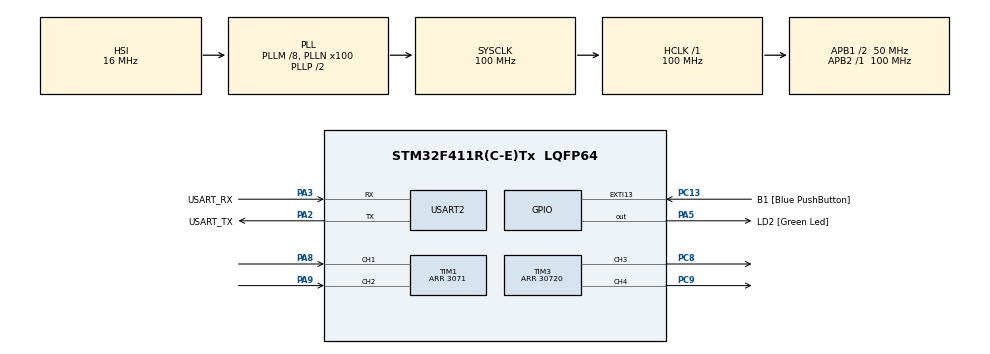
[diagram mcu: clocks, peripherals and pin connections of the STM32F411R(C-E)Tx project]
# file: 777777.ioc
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Mcu.Family=STM32F4
Mcu.Name=STM32F411R(C-E)Tx
Mcu.Package=LQFP64
NVIC.PriorityGroup=NVIC_PRIORITYGROUP_0
NVIC.TIM2_IRQn=true\:0\:0\:false\:false\:true\:true\:true
NVIC.TIM3_IRQn=true\:0\:0\:false\:false\:true\:true\:true
PA13.GPIO_Label=TMS
PA13.Mode=Serial_Wire
PA13.Signal=SYS_JTMS-SWDIO
PA14.GPIO_Label=TCK
PA14.Mode=Serial_Wire
PA14.Signal=SYS_JTCK-SWCLK
PA2.GPIO_Label=USART_TX
PA2.Mode=Asynchronous
PA2.Signal=USART2_TX
PA3.GPIO_Label=USART_RX
PA3.Mode=Asynchronous
PA3.Signal=USART2_RX
PA5.GPIO_Label=LD2 [Green Led]
PA5.Signal=GPIO_Output
PA8.Signal=S_TIM1_CH1
PA9.Signal=S_TIM1_CH2
PB10.Signal=S_TIM2_CH3
PB3.GPIO_Label=SWO
PB3.Signal=SYS_JTDO-SWO
PC13-ANTI_TAMP.GPIO_Label=B1 [Blue PushButton]
PC13-ANTI_TAMP.GPIO_ModeDefaultEXTI=GPIO_MODE_IT_FALLING
PC13-ANTI_TAMP.Signal=GPXTI13
PC14-OSC32_IN.Mode=LSE-External-Oscillator
PC14-OSC32_IN.Signal=RCC_OSC32_IN
PC15-OSC32_OUT.Mode=LSE-External-Oscillator
PC15-OSC32_OUT.Signal=RCC_OSC32_OUT
PC8.Signal=S_TIM3_CH3
PC9.Signal=S_TIM3_CH4
PH0\ -\ OSC_IN.Mode=HSE-External-Clock-Source
PH0\ -\ OSC_IN.Signal=RCC_OSC_IN
PH1\ -\ OSC_OUT.Mode=HSE-External-Clock-Source
PH1\ -\ OSC_OUT.Signal=RCC_OSC_OUT
ProjectManager.HeapSize=0x200
ProjectManager.StackSize=0x400
ProjectManager.TargetToolchain=STM32CubeIDE
RCC.48MHZClocksFreq_Value=50000000
RCC.AHBFreq_Value=100000000
RCC.APB1CLKDivider=RCC_HCLK_DIV2
RCC.APB1Freq_Value=50000000
RCC.APB1TimFreq_Value=100000000
RCC.APB2Freq_Value=100000000
RCC.APB2TimFreq_Value=100000000
RCC.CortexFreq_Value=100000000
RCC.FLatency-AdvancedSettings=FLASH_LATENCY_3
RCC.HCLKFreq_Value=100000000
RCC.HSE_VALUE=8000000
RCC.HSI_VALUE=16000000
RCC.PLLM=8
RCC.PLLN=100
RCC.SYSCLKFreq_VALUE=100000000
RCC.SYSCLKSource=RCC_SYSCLKSOURCE_PLLCLK
RCC.VCOOutputFreq_Value=200000000
SH.S_TIM1_CH1.0=TIM1_CH1,Encoder_Interface
SH.S_TIM1_CH2.0=TIM1_CH2,Encoder_Interface
SH.S_TIM2_CH3.0=TIM2_CH3
SH.S_TIM3_CH3.0=TIM3_CH3,PWM Generation3 CH3
SH.S_TIM3_CH4.0=TIM3_CH4,PWM Generation4 CH4
TIM1.EncoderMode=TIM_ENCODERMODE_TI12
TIM1.Period=3071
TIM2.Prescaler=99
TIM3.Channel-PWM\ Generation3\ CH3=TIM_CHANNEL_3
TIM3.Channel-PWM\ Generation4\ CH4=TIM_CHANNEL_4
TIM3.Period=30720
TIM5.Period=1000000
USART2.VirtualMode=VM_ASYNC
VP_TIM2_VS_ClockSourceINT.Mode=Internal
VP_TIM3_VS_ClockSourceINT.Mode=Internal
VP_TIM5_VS_ClockSourceINT.Mode=Internal
board=NUCLEO-F411RE

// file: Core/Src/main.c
/* USER CODE BEGIN Header */
/**
 ******************************************************************************
 * @file           : main.c
 * @brief          : Main program body
 ******************************************************************************
 * @attention
 *
 * <h2><center>&copy; Copyright (c) 2021 STMicroelectronics.
 * All rights reserved.</center></h2>
 *
 * This software component is licensed by ST under BSD 3-Clause license,
 * the "License"; You may not use this file except in compliance with the
 * License. You may obtain a copy of the License at:
 *                        opensource.org/licenses/BSD-3-Clause
 *
 ******************************************************************************
 */
/* USER CODE END Header */
#include "main.h"

TIM_HandleTypeDef htim1;
TIM_HandleTypeDef htim2;
TIM_HandleTypeDef htim3;
TIM_HandleTypeDef htim5;

UART_HandleTypeDef huart2;

/* USER CODE BEGIN PV */
uint64_t _micros = 0;
float EncoderVel = 0;
uint64_t Timestamp_Encoder = 0;

float rpm = 0;
uint32_t PWMOut3 = 0;
uint32_t PWMOut4 = 0;
uint64_t TimeOutputLoop = 0;
float RPM = 0;
float Angel = 0;
float InputAngel = 0;
float Eror = 0;
float PreEror = 0;
float SumEror = 0;
float Kp = 0.2;
float Kd = 0.3;
float Ki = 0.0005;
float Re = 0;
float PWMPID = 0;
/* USER CODE END PV */

void SystemClock_Config(void);
static void MX_GPIO_Init(void);
static void MX_USART2_UART_Init(void);
static void MX_TIM1_Init(void);
static void MX_TIM2_Init(void);
static void MX_TIM3_Init(void);
static void MX_TIM5_Init(void);
/* USER CODE BEGIN PFP */
uint64_t micros();
float EncoderVelocity_Update();

/* USER CODE END PFP */

int main(void)
{

  /* MCU Configuration--------------------------------------------------------*/

  /* Reset of all peripherals, Initializes the Flash interface and the Systick. */
  HAL_Init();

  /* Configure the system clock */
  SystemClock_Config();

  /* Initialize all configured peripherals */
  MX_GPIO_Init();
  MX_USART2_UART_Init();
  MX_TIM1_Init();
  MX_TIM2_Init();
  MX_TIM3_Init();
  MX_TIM5_Init();
  /* USER CODE BEGIN 2 */
	HAL_TIM_Base_Start_IT(&htim2);
	HAL_TIM_Encoder_Start(&htim1, TIM_CHANNEL_ALL);
	HAL_TIM_Base_Start(&htim3);
	HAL_TIM_PWM_Start(&htim3, TIM_CHANNEL_3);
	HAL_TIM_PWM_Start(&htim3, TIM_CHANNEL_4);
  /* USER CODE END 2 */

  /* Infinite loop */
	while (1) {

    /* USER CODE BEGIN 3 */

		//1 Khz Loop
		if (micros() - TimeOutputLoop >= 1000) {
			TimeOutputLoop = micros();
			RPM = EncoderVel*60/3072;
			Eror = rpm - RPM;
//			SumEror += Eror;
//			Re = (Kp * Eror) + (Kd * (Eror - PreEror)) + (Ki * SumEror);
//			PreEror = Eror;
//			PWMPID += Re;
//			if (rpm > 0) {
//				PWMOut3 = PWMPID;
//				PWMOut4 = 0;
//			} else if (rpm < 0) {
//				PWMOut3 = 0;
//				PWMOut4 = -PWMPID;
//			} else {
//				PWMOut3 = 0;
//				PWMOut4 = 0;
//			}
			__HAL_TIM_SET_COMPARE(&htim3, TIM_CHANNEL_3, PWMOut3);
			__HAL_TIM_SET_COMPARE(&htim3, TIM_CHANNEL_4, PWMOut4);
		}

		if (micros() - Timestamp_Encoder >= 100) {
			Timestamp_Encoder = micros();
			EncoderVel = (EncoderVel * 1999 + EncoderVelocity_Update()) / 2000.0;
		}

	}
  /* USER CODE END 3 */
}

void SystemClock_Config(void)
{
  RCC_OscInitTypeDef RCC_OscInitStruct = {0};
  RCC_ClkInitTypeDef RCC_ClkInitStruct = {0};

  /** Configure the main internal regulator output voltage
  */
  __HAL_RCC_PWR_CLK_ENABLE();
  __HAL_PWR_VOLTAGESCALING_CONFIG(PWR_REGULATOR_VOLTAGE_SCALE1);
  /** Initializes the RCC Oscillators according to the specified parameters
  * in the RCC_OscInitTypeDef structure.
  */
  RCC_OscInitStruct.OscillatorType = RCC_OSCILLATORTYPE_HSI;
  RCC_OscInitStruct.HSIState = RCC_HSI_ON;
  RCC_OscInitStruct.HSICalibrationValue = RCC_HSICALIBRATION_DEFAULT;
  RCC_OscInitStruct.PLL.PLLState = RCC_PLL_ON;
  RCC_OscInitStruct.PLL.PLLSource = RCC_PLLSOURCE_HSI;
  RCC_OscInitStruct.PLL.PLLM = 8;
  RCC_OscInitStruct.PLL.PLLN = 100;
  RCC_OscInitStruct.PLL.PLLP = RCC_PLLP_DIV2;
  RCC_OscInitStruct.PLL.PLLQ = 4;
  if (HAL_RCC_OscConfig(&RCC_OscInitStruct) != HAL_OK)
  {
    Error_Handler();
  }
  /** Initializes the CPU, AHB and APB buses clocks
  */
  RCC_ClkInitStruct.ClockType = RCC_CLOCKTYPE_HCLK|RCC_CLOCKTYPE_SYSCLK
                              |RCC_CLOCKTYPE_PCLK1|RCC_CLOCKTYPE_PCLK2;
  RCC_ClkInitStruct.SYSCLKSource = RCC_SYSCLKSOURCE_PLLCLK;
  RCC_ClkInitStruct.AHBCLKDivider = RCC_SYSCLK_DIV1;
  RCC_ClkInitStruct.APB1CLKDivider = RCC_HCLK_DIV2;
  RCC_ClkInitStruct.APB2CLKDivider = RCC_HCLK_DIV1;

  if (HAL_RCC_ClockConfig(&RCC_ClkInitStruct, FLASH_LATENCY_3) != HAL_OK)
  {
    Error_Handler();
  }
}

static void MX_TIM1_Init(void)
{

  TIM_Encoder_InitTypeDef sConfig = {0};
  TIM_MasterConfigTypeDef sMasterConfig = {0};

  htim1.Instance = TIM1;
  htim1.Init.Prescaler = 0;
  htim1.Init.CounterMode = TIM_COUNTERMODE_UP;
  htim1.Init.Period = 3071;
  htim1.Init.ClockDivision = TIM_CLOCKDIVISION_DIV1;
  htim1.Init.RepetitionCounter = 0;
  htim1.Init.AutoReloadPreload = TIM_AUTORELOAD_PRELOAD_DISABLE;
  sConfig.EncoderMode = TIM_ENCODERMODE_TI12;
  sConfig.IC1Polarity = TIM_ICPOLARITY_RISING;
  sConfig.IC1Selection = TIM_ICSELECTION_DIRECTTI;
  sConfig.IC1Prescaler = TIM_ICPSC_DIV1;
  sConfig.IC1Filter = 0;
  sConfig.IC2Polarity = TIM_ICPOLARITY_RISING;
  sConfig.IC2Selection = TIM_ICSELECTION_DIRECTTI;
  sConfig.IC2Prescaler = TIM_ICPSC_DIV1;
  sConfig.IC2Filter = 0;
  if (HAL_TIM_Encoder_Init(&htim1, &sConfig) != HAL_OK)
  {
    Error_Handler();
  }
  sMasterConfig.MasterOutputTrigger = TIM_TRGO_RESET;
  sMasterConfig.MasterSlaveMode = TIM_MASTERSLAVEMODE_DISABLE;
  if (HAL_TIMEx_MasterConfigSynchronization(&htim1, &sMasterConfig) != HAL_OK)
  {
    Error_Handler();
  }

}

static void MX_TIM2_Init(void)
{

  TIM_ClockConfigTypeDef sClockSourceConfig = {0};
  TIM_MasterConfigTypeDef sMasterConfig = {0};

  htim2.Instance = TIM2;
  htim2.Init.Prescaler = 99;
  htim2.Init.CounterMode = TIM_COUNTERMODE_UP;
  htim2.Init.Period = 4294967295;
  htim2.Init.ClockDivision = TIM_CLOCKDIVISION_DIV1;
  htim2.Init.AutoReloadPreload = TIM_AUTORELOAD_PRELOAD_DISABLE;
  if (HAL_TIM_Base_Init(&htim2) != HAL_OK)
  {
    Error_Handler();
  }
  sClockSourceConfig.ClockSource = TIM_CLOCKSOURCE_INTERNAL;
  if (HAL_TIM_ConfigClockSource(&htim2, &sClockSourceConfig) != HAL_OK)
  {
    Error_Handler();
  }
  sMasterConfig.MasterOutputTrigger = TIM_TRGO_RESET;
  sMasterConfig.MasterSlaveMode = TIM_MASTERSLAVEMODE_DISABLE;
  if (HAL_TIMEx_MasterConfigSynchronization(&htim2, &sMasterConfig) != HAL_OK)
  {
    Error_Handler();
  }

}

static void MX_TIM3_Init(void)
{

  TIM_ClockConfigTypeDef sClockSourceConfig = {0};
  TIM_MasterConfigTypeDef sMasterConfig = {0};
  TIM_OC_InitTypeDef sConfigOC = {0};

  htim3.Instance = TIM3;
  htim3.Init.Prescaler = 0;
  htim3.Init.CounterMode = TIM_COUNTERMODE_UP;
  htim3.Init.Period = 30720;
  htim3.Init.ClockDivision = TIM_CLOCKDIVISION_DIV1;
  htim3.Init.AutoReloadPreload = TIM_AUTORELOAD_PRELOAD_DISABLE;
  if (HAL_TIM_Base_Init(&htim3) != HAL_OK)
  {
    Error_Handler();
  }
  sClockSourceConfig.ClockSource = TIM_CLOCKSOURCE_INTERNAL;
  if (HAL_TIM_ConfigClockSource(&htim3, &sClockSourceConfig) != HAL_OK)
  {
    Error_Handler();
  }
  if (HAL_TIM_PWM_Init(&htim3) != HAL_OK)
  {
    Error_Handler();
  }
  sMasterConfig.MasterOutputTrigger = TIM_TRGO_RESET;
  sMasterConfig.MasterSlaveMode = TIM_MASTERSLAVEMODE_DISABLE;
  if (HAL_TIMEx_MasterConfigSynchronization(&htim3, &sMasterConfig) != HAL_OK)
  {
    Error_Handler();
  }
  sConfigOC.OCMode = TIM_OCMODE_PWM1;
  sConfigOC.Pulse = 0;
  sConfigOC.OCPolarity = TIM_OCPOLARITY_HIGH;
  sConfigOC.OCFastMode = TIM_OCFAST_DISABLE;
  if (HAL_TIM_PWM_ConfigChannel(&htim3, &sConfigOC, TIM_CHANNEL_3) != HAL_OK)
  {
    Error_Handler();
  }
  if (HAL_TIM_PWM_ConfigChannel(&htim3, &sConfigOC, TIM_CHANNEL_4) != HAL_OK)
  {
    Error_Handler();
  }
  HAL_TIM_MspPostInit(&htim3);

}

static void MX_TIM5_Init(void)
{

  TIM_ClockConfigTypeDef sClockSourceConfig = {0};
  TIM_MasterConfigTypeDef sMasterConfig = {0};

  htim5.Instance = TIM5;
  htim5.Init.Prescaler = 0;
  htim5.Init.CounterMode = TIM_COUNTERMODE_UP;
  htim5.Init.Period = 1000000;
  htim5.Init.ClockDivision = TIM_CLOCKDIVISION_DIV1;
  htim5.Init.AutoReloadPreload = TIM_AUTORELOAD_PRELOAD_DISABLE;
  if (HAL_TIM_Base_Init(&htim5) != HAL_OK)
  {
    Error_Handler();
  }
  sClockSourceConfig.ClockSource = TIM_CLOCKSOURCE_INTERNAL;
  if (HAL_TIM_ConfigClockSource(&htim5, &sClockSourceConfig) != HAL_OK)
  {
    Error_Handler();
  }
  sMasterConfig.MasterOutputTrigger = TIM_TRGO_RESET;
  sMasterConfig.MasterSlaveMode = TIM_MASTERSLAVEMODE_DISABLE;
  if (HAL_TIMEx_MasterConfigSynchronization(&htim5, &sMasterConfig) != HAL_OK)
  {
    Error_Handler();
  }

}

static void MX_USART2_UART_Init(void)
{

  huart2.Instance = USART2;
  huart2.Init.BaudRate = 115200;
  huart2.Init.WordLength = UART_WORDLENGTH_8B;
  huart2.Init.StopBits = UART_STOPBITS_1;
  huart2.Init.Parity = UART_PARITY_NONE;
  huart2.Init.Mode = UART_MODE_TX_RX;
  huart2.Init.HwFlowCtl = UART_HWCONTROL_NONE;
  huart2.Init.OverSampling = UART_OVERSAMPLING_16;
  if (HAL_UART_Init(&huart2) != HAL_OK)
  {
    Error_Handler();
  }

}

static void MX_GPIO_Init(void)
{
  GPIO_InitTypeDef GPIO_InitStruct = {0};

  /* GPIO Ports Clock Enable */
  __HAL_RCC_GPIOC_CLK_ENABLE();
  __HAL_RCC_GPIOH_CLK_ENABLE();
  __HAL_RCC_GPIOA_CLK_ENABLE();
  __HAL_RCC_GPIOB_CLK_ENABLE();

  /*Configure GPIO pin Output Level */
  HAL_GPIO_WritePin(LD2_GPIO_Port, LD2_Pin, GPIO_PIN_RESET);

  /*Configure GPIO pin : B1_Pin */
  GPIO_InitStruct.Pin = B1_Pin;
  GPIO_InitStruct.Mode = GPIO_MODE_IT_FALLING;
  GPIO_InitStruct.Pull = GPIO_NOPULL;
  HAL_GPIO_Init(B1_GPIO_Port, &GPIO_InitStruct);

  /*Configure GPIO pin : LD2_Pin */
  GPIO_InitStruct.Pin = LD2_Pin;
  GPIO_InitStruct.Mode = GPIO_MODE_OUTPUT_PP;
  GPIO_InitStruct.Pull = GPIO_NOPULL;
  GPIO_InitStruct.Speed = GPIO_SPEED_FREQ_LOW;
  HAL_GPIO_Init(LD2_GPIO_Port, &GPIO_InitStruct);

}

/* USER CODE BEGIN 4 */
#define  HTIM_ENCODER htim1
#define  MAX_SUBPOSITION_OVERFLOW 1536
#define  MAX_ENCODER_PERIOD 3072

float EncoderVelocity_Update() {
	//Save Last state
	static uint32_t EncoderLastPosition = 0;
	static uint64_t EncoderLastTimestamp = 0;

	//read data
	uint32_t EncoderNowPosition = HTIM_ENCODER.Instance->CNT;
	uint64_t EncoderNowTimestamp = micros();

	int32_t EncoderPositionDiff;
	uint64_t EncoderTimeDiff;

	EncoderTimeDiff = EncoderNowTimestamp - EncoderLastTimestamp;
	EncoderPositionDiff = EncoderNowPosition - EncoderLastPosition;

	//compensate overflow and underflow
	if (EncoderPositionDiff >= MAX_SUBPOSITION_OVERFLOW) {
		EncoderPositionDiff -= MAX_ENCODER_PERIOD;
	} else if (-EncoderPositionDiff >= MAX_SUBPOSITION_OVERFLOW) {
		EncoderPositionDiff += MAX_ENCODER_PERIOD;
	}

	//Update Position and time
	EncoderLastPosition = EncoderNowPosition;
	EncoderLastTimestamp = EncoderNowTimestamp;

	//Calculate velocity
	//EncoderTimeDiff is in uS
	return (EncoderPositionDiff * 1000000) / (float) EncoderTimeDiff;

}

void HAL_TIM_PeriodElapsedCallback(TIM_HandleTypeDef *htim) {
	if (htim == &htim2) {
		_micros += 4294967295;
	}
}
uint64_t micros() {
	return _micros + htim2.Instance->CNT;
}
/* USER CODE END 4 */

void Error_Handler(void)
{
	__disable_irq();
	while (1) {
	}
}

/************************ (C) COPYRIGHT STMicroelectronics *****END OF FILE****/
